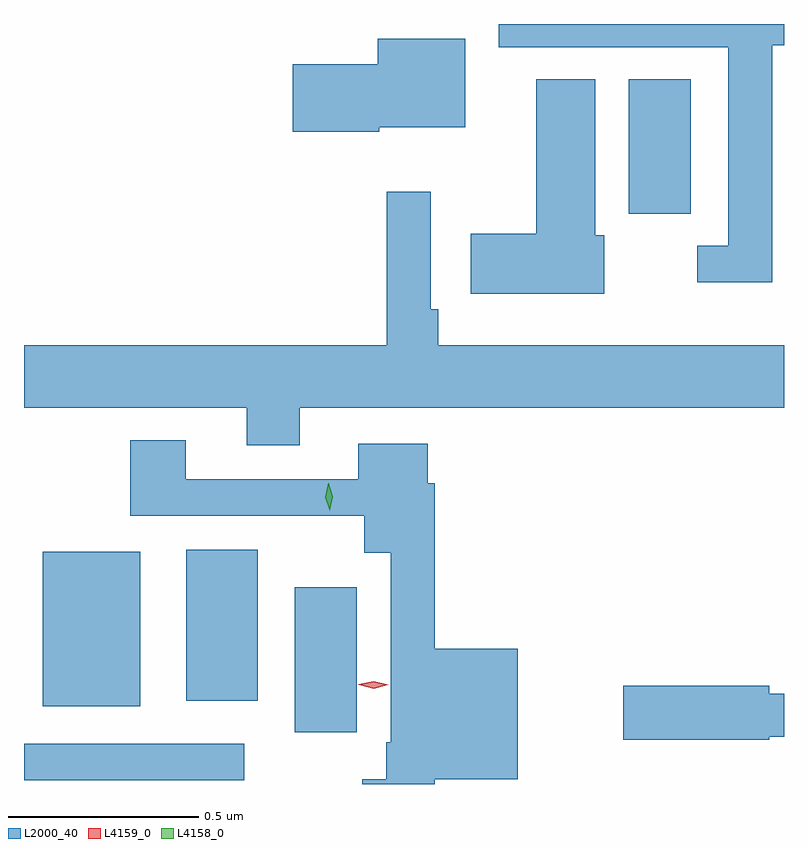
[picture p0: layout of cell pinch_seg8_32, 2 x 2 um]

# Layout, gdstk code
import gdstk
lib = gdstk.Library(unit=1e-6, precision=1e-09)
def R(c, l, rs):  # rectangles x0, y0, x1, y1
    for r in rs: c.add(gdstk.rectangle(r[:2], r[2:], *l))
def P(c, l, *ps):  # polygons
    for p in ps: c.add(gdstk.Polygon(p, *l))
L2000_40 = (2000, 40)
L4158_0 = (4158, 0)
L4159_0 = (4159, 0)

pinch_seg8_32 = lib.new_cell('pinch_seg8_32')
R(pinch_seg8_32, L2000_40, [(983.827,1150.152,984.406,1150.248), (984.539,1150.278,984.703,1150.66), (983.876,1150.346,984.133,1150.753), (984.254,1150.361,984.442,1150.759), (985.418,1151.643,985.582,1151.996)])
P(pinch_seg8_32, L2000_40, [(985.796,1152.086),(985.827,1152.086),(985.827,1152.142),(985.076,1152.142),(985.076,1152.081),(985.68,1152.081),(985.68,1151.559),(985.599,1151.559),(985.599,1151.462),(985.796,1151.462)],
  [(984.762,1151.87),(984.988,1151.87),(984.988,1152.103),(984.758,1152.103),(984.758,1152.036),(984.534,1152.036),(984.534,1151.858),(984.762,1151.858)],
  [(985.354,1151.586),(985.33,1151.586),(985.33,1151.996),(985.175,1151.996),(985.175,1151.59),(985.002,1151.59),(985.002,1151.432),(985.354,1151.432)],
  [(984.553,1151.132),(985.827,1151.132),(985.827,1151.296),(984.917,1151.296),(984.917,1151.392),(984.897,1151.392),(984.897,1151.701),(984.781,1151.701),(984.781,1151.296),(983.827,1151.296),(983.827,1151.132),(984.413,1151.132),(984.413,1151.033),(984.553,1151.033)],
  [(984.908,1150.154),(985.126,1150.154),(985.126,1150.498),(984.908,1150.498),(984.908,1150.934),(984.889,1150.934),(984.889,1151.038),(984.707,1151.038),(984.707,1150.944),(984.253,1150.944),(984.253,1151.047),(984.106,1151.047),(984.106,1150.848),(984.722,1150.848),(984.722,1150.751),(984.792,1150.751),(984.792,1150.252),(984.78,1150.252),(984.78,1150.155),(984.717,1150.155),(984.717,1150.142),(984.908,1150.142)],
  [(985.788,1150.266),(985.827,1150.266),(985.827,1150.379),(985.788,1150.379),(985.788,1150.4),(985.404,1150.4),(985.404,1150.258),(985.788,1150.258)])
P(pinch_seg8_32, L4158_0, [(984.631,1150.861),(984.631,1150.862),(984.62,1150.897),(984.628,1150.933),(984.629,1150.933),(984.629,1150.933),(984.64,1150.898),(984.631,1150.862)])
P(pinch_seg8_32, L4159_0, [(984.747,1150.393),(984.708,1150.403),(984.707,1150.404),(984.708,1150.404),(984.747,1150.413),(984.786,1150.403),(984.786,1150.403),(984.786,1150.403)])

lib.write_gds('pinch_seg8_32.gds')
